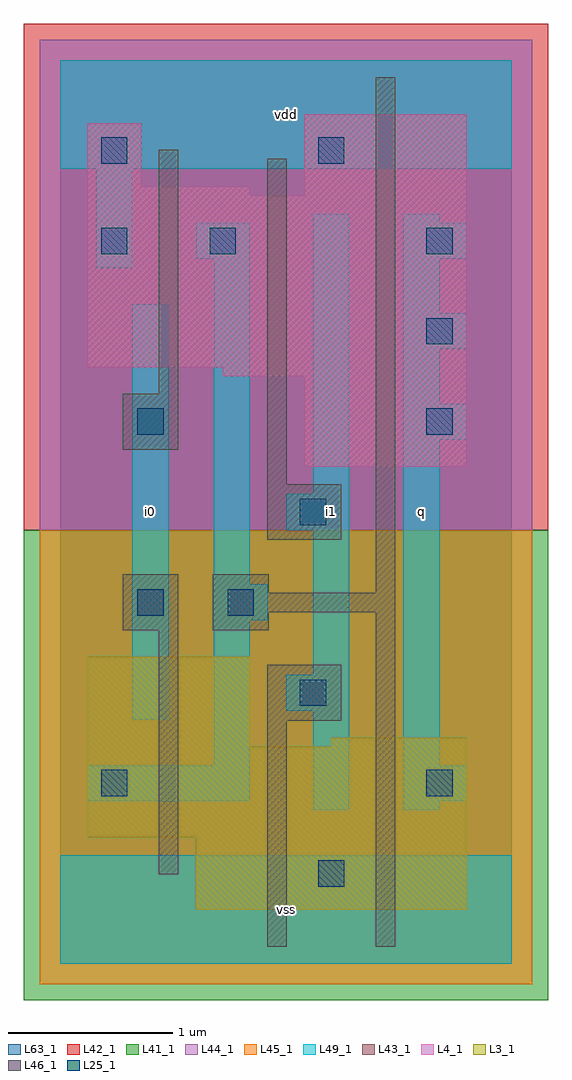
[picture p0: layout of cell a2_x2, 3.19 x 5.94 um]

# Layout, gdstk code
import gdstk
lib = gdstk.Library(unit=1e-6, precision=1e-09)
def R(c, l, rs):  # rectangles x0, y0, x1, y1
    for r in rs: c.add(gdstk.rectangle(r[:2], r[2:], *l))
def A(c, l, x, y, w, h, nx, ny, dx, dy):  # array of equal rectangles
    R(c, l, [(x+i*dx, y+j*dy, x+i*dx+w, y+j*dy+h) for i in range(nx) for j in range(ny)])
L3_1 = (3, 1)
L4_1 = (4, 1)
L25_1 = (25, 1)
L41_1 = (41, 1)
L42_1 = (42, 1)
L43_1 = (43, 1)
L44_1 = (44, 1)
L45_1 = (45, 1)
L46_1 = (46, 1)
L49_1 = (49, 1)
L63_1 = (63, 1)

a2_x2 = lib.new_cell('a2_x2')
R(a2_x2, L3_1, [(0.825,0.33,2.475,0.77), (0.165,0.77,2.475,1.32), (0.165,1.32,1.155,1.87), (1.65,1.32,2.475,1.375)])
R(a2_x2, L4_1, [(1.485,3.025,2.475,3.575), (0.99,3.575,2.475,3.63), (0.165,3.63,2.475,4.675), (0.165,4.675,1.155,4.73), (1.485,4.675,2.475,5.17), (0.165,4.73,0.495,5.115)])
A(a2_x2, L25_1, 2.23, 3.22, 0.16, 0.16, 1, 3, 0, 0.55)
R(a2_x2, L25_1, [(1.57,0.47,1.73,0.63), (0.25,1.02,0.41,1.18), (2.23,1.02,2.39,1.18), (1.46,1.57,1.62,1.73), (0.47,2.12,0.63,2.28), (1.02,2.12,1.18,2.28), (1.46,2.67,1.62,2.83), (0.47,3.22,0.63,3.38), (0.25,4.32,0.41,4.48), (0.91,4.32,1.07,4.48), (0.25,4.87,0.41,5.03), (1.57,4.87,1.73,5.03)])
R(a2_x2, L41_1, [(-0.22,-0.22,2.97,2.64)])
R(a2_x2, L42_1, [(-0.22,2.64,2.97,5.72)])
R(a2_x2, L43_1, [(0.825,0.33,2.475,0.77), (0.165,0.77,2.475,1.32), (0.165,1.32,1.155,1.87), (1.65,1.32,2.475,1.375), (1.485,3.025,2.475,3.575), (0.99,3.575,2.475,3.63), (0.165,3.63,2.475,4.675), (0.165,4.675,1.155,4.73), (1.485,4.675,2.475,5.17), (0.165,4.73,0.495,5.115)])
R(a2_x2, L44_1, [(-0.125,2.64,2.875,5.625)])
R(a2_x2, L45_1, [(-0.125,-0.125,2.875,2.64)])
R(a2_x2, L46_1, [(1.26,0.105,1.38,1.48), (1.92,0.105,2.04,2.14), (0.6,0.545,0.72,2.03), (1.26,1.48,1.71,1.82), (0.38,2.03,0.72,2.37), (0.93,2.03,1.27,2.14), (0.93,2.14,2.04,2.26), (0.93,2.26,1.27,2.37), (1.92,2.26,2.04,5.395), (1.26,2.58,1.71,2.92), (1.26,2.92,1.38,4.9), (0.38,3.13,0.72,3.47), (0.6,3.47,0.72,4.955)])
A(a2_x2, L49_1, 2.09, 3.19, 0.385, 0.22, 1, 3, 0, 0.55)
R(a2_x2, L49_1, [(0,0,2.75,0.66), (1.54,0.935,1.76,1.54), (2.09,0.935,2.31,0.99), (0.165,0.99,1.155,1.21), (2.09,0.99,2.475,1.21), (0.935,1.21,1.155,2.09), (2.09,1.21,2.31,3.19), (0.44,1.485,0.66,4.015), (1.375,1.54,1.76,1.76), (1.54,1.76,1.76,2.64), (0.935,2.09,1.265,2.31), (0.935,2.31,1.155,4.29), (1.375,2.64,1.76,2.86), (1.54,2.86,1.76,4.565), (2.09,3.41,2.31,3.74), (2.09,3.96,2.31,4.29), (0.22,4.235,0.44,4.84), (0.825,4.29,1.155,4.51), (2.09,4.51,2.31,4.565), (0,4.84,2.75,5.5)])
R(a2_x2, L63_1, [(0,0,2.75,5.5)])
a2_x2.add(gdstk.Label('i0', (0.55,2.75), layer=49, texttype=1))
a2_x2.add(gdstk.Label('vss', (1.375,0.33), layer=49, texttype=1))
a2_x2.add(gdstk.Label('i1', (1.65,2.75), layer=49, texttype=1))
a2_x2.add(gdstk.Label('vdd', (1.375,5.17), layer=49, texttype=1))
a2_x2.add(gdstk.Label('q', (2.2,2.75), layer=49, texttype=1))

lib.write_gds('a2_x2.gds')
